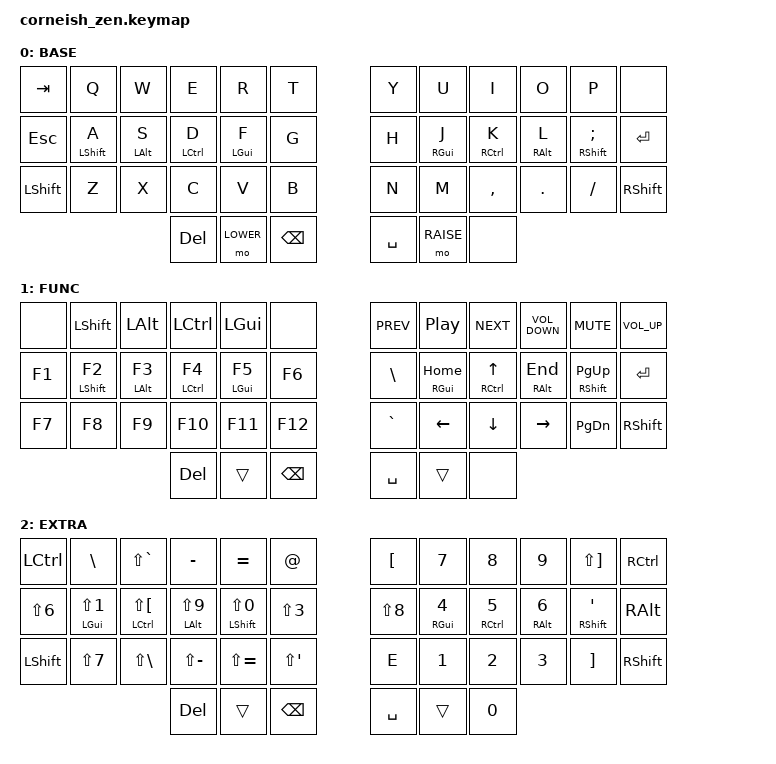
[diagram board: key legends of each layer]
/*
*
* Copyright (c) 2021 Darryl deHaan
* SPDX-License-Identifier: MIT
*
*/

#include <behaviors.dtsi>
#include <dt-bindings/zmk/keys.h>
#include <dt-bindings/zmk/bt.h>

#define DEFAULT 0
#define RAISE   1
#define LOWER   2

// https://zmk.dev/docs/keymaps/behaviors/hold-tap#mod-tap
&mt {
    flavor = "balanced";
    require-prior-idle-ms = <125>; // disable if typing for 125ms before
    quick-tap-ms = <150>; // tap again within 150 to hold the tapped key
};

/ {
    chosen {
        zmk,physical-layout = &foostan_corne_6col_layout;
        // zmk,physical-layout = &foostan_corne_5col_layout;
    };
};

/ {
    keymap {
        compatible = "zmk,keymap";

        default {
            display-name = "BASE";
// --------------------------------------------------------------------------------
// |  TAB |  Q  |  W  |  E  |  R  |  T  |   |  Y  |  U   |  I  |  O  |  P  | BSPC  |
// | ESC  |  A  |  S  |  D  |  F  |  G  |   |  H  |  J   |  K  |  L  |  ;  | ENTR  |
// | SHFT |  Z  |  X  |  C  |  V  |  B  |   |  N  |  M   |  ,  |  .  |  /  | RSHFT |
//                    | DEL | LWR | BSP |   | SPC | RSE  | ALT |
            bindings = <
// Row 1
&kp TAB     &kp Q      &kp W      &kp E      &kp R      &kp T     &kp Y      &kp U      &kp I        &kp O        &kp P          &none
// Row 2
&kp ESC     &mt LSHIFT A  &mt LALT S  &mt LCTRL D  &mt LGUI F  &kp G   &kp H   &mt RGUI J  &mt RCTRL K  &mt RALT L  &mt RSHIFT SEMI  &kp ENTER
// Row 3
&kp LSHIFT  &kp Z      &kp X      &kp C      &kp V      &kp B     &kp N      &kp M      &kp COMMA    &kp DOT      &kp SLASH       &kp RSHIFT
// Thumbs
&kp DEL     &mo LOWER  &kp BSPC   &kp SPACE  &mo RAISE  &none
      >;
        };

        lower {
            display-name = "FUNC";
// -----------------------------------------------------------------------------------------
// |  TAB |  1  |  2  |  3  |  4  |  5  |   |  6  |  7  |  8  |  9  |  0  | BSPC |
// | BTCLR| BT1 | BT2 | BT3 | BT4 | BT5 |   | LFT | DWN |  UP | RGT |     |      |
// | SHFT |     |     |     |     |     |   |     |     |     |     |     |      |
//                    | GUI |     | SPC |   | ENT |     | ALT |
            bindings = <
    // Row 1
    &none        &kp LSHIFT   &kp LALT     &kp LCTRL   &kp LGUI    &none
    &kp C_PREV   &kp C_PLAY_PAUSE  &kp C_NEXT  &kp C_VOLUME_DOWN  &kp C_MUTE  &kp C_VOLUME_UP
    // Row 2
    &kp F1       &mt LSHIFT F2   &mt LALT F3   &mt LCTRL F4   &mt LGUI F5   &kp F6
    &kp BACKSLASH  &mt RGUI HOME  &mt RCTRL UP  &mt RALT END   &mt RSHIFT PG_UP  &kp ENTER
    // Row 3
    &kp F7       &kp F8       &kp F9       &kp F10      &kp F11     &kp F12
    &kp GRAVE    &kp LEFT     &kp DOWN     &kp RIGHT    &kp PG_DN   &kp RSHIFT
    // Thumbs
    &kp DEL      &trans       &kp BSPC     &kp SPACE    &trans      &none
  >;
        };

        raise {
            display-name = "EXTRA";
// -----------------------------------------------------------------------------------------
// |  TAB |  !  |  @  |  #  |  $  |  %  |   |  ^  |  &  |  *  |  (  |  )  | BSPC |
// | CTRL |     |     |     |     |     |   |  -  |  =  |  [  |  ]  |  \  |  `   |
// | SHFT |     |     |     |     |     |   |  _  |  +  |  {  |  }  | "|" |  ~   |
//                    | GUI |     | SPC |   | ENT |     | ALT |
            bindings = <
    // Row 1
    &kp LCTRL   &kp BACKSLASH  &kp LS(GRAVE)   &kp MINUS   &kp EQUAL   &kp AT
    &kp LBKT    &kp N7         &kp N8          &kp N9      &kp LS(RBKT)  &kp RCTRL

    // Row 2
    &kp LS(N6)  &mt LGUI LS(N1) &mt LCTRL LS(LBKT)  &mt LALT LS(N9)  &mt LSHIFT LS(N0)   &kp LS(N3)
    &kp LS(N8)  &mt RGUI N4    &mt RCTRL N5    &mt RALT N6  &mt RSHIFT APOS  &kp RALT

    // Row 3
    &kp LSHIFT  &kp LS(N7)     &kp LS(BACKSLASH)  &kp LS(MINUS)  &kp LS(EQUAL)  &kp LS(APOS)
    &kp E       &kp N1         &kp N2             &kp N3         &kp RBKT       &kp RSHIFT

    // Thumbs
    &kp DEL     &trans         &kp BSPC           &kp SPACE      &trans         &kp N0
  >;
        };
    };
};
